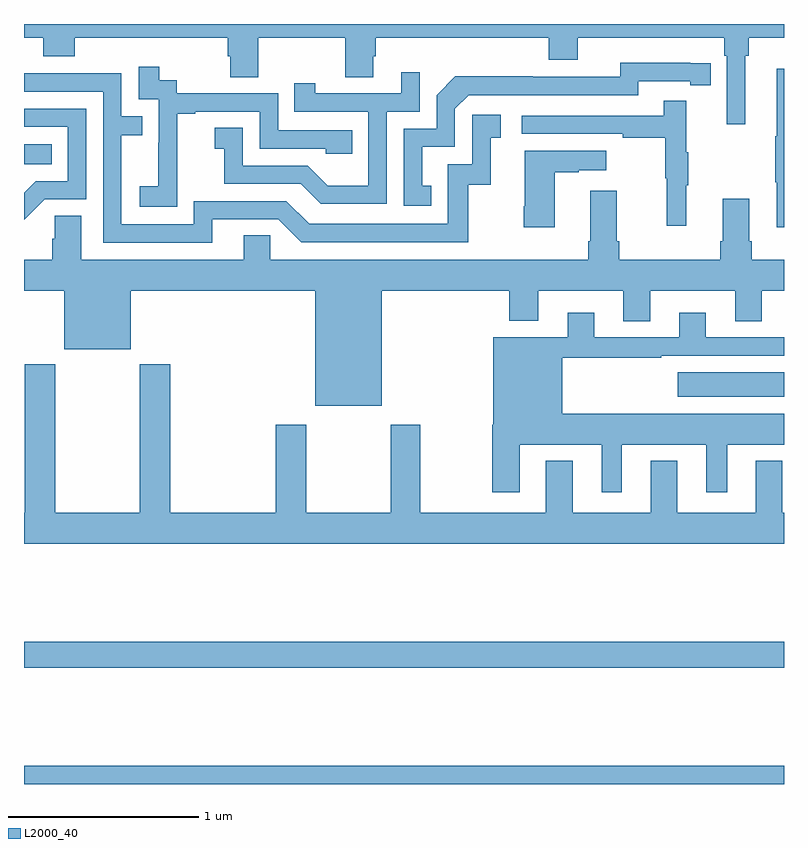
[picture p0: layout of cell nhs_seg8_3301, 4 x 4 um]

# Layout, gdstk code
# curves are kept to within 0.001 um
import gdstk
lib = gdstk.Library(unit=1e-6, precision=1e-09)
def R(c, l, rs):  # rectangles x0, y0, x1, y1
    for r in rs: c.add(gdstk.rectangle(r[:2], r[2:], *l))
def P(c, l, *ps):  # polygons
    for p in ps: c.add(gdstk.Polygon(p, *l))
L2000_40 = (2000, 40)

nhs_seg8_3301 = lib.new_cell('nhs_seg8_3301')
R(nhs_seg8_3301, L2000_40, [(315,1117.9,319,1117.996), (315,1118.512,319,1118.648), (318.441,1119.938,319,1120.066), (315,1121.162,315.146,1121.266)])
P(nhs_seg8_3301, L2000_40, [(318.796,1121.732),(318.815,1121.732),(318.815,1121.828),(319,1121.828),(319,1121.9),(315,1121.9),(315,1121.828),(315.101,1121.828),(315.101,1121.729),(315.266,1121.729),(315.266,1121.828),(316.073,1121.828),(316.073,1121.73),(316.085,1121.73),(316.085,1121.62),(316.233,1121.62),(316.233,1121.828),(316.69,1121.828),(316.69,1121.62),(316.837,1121.62),(316.837,1121.73),(316.85,1121.73),(316.85,1121.828),(317.762,1121.828),(317.762,1121.711),(317.914,1121.711),(317.914,1121.828),(318.686,1121.828),(318.686,1121.732),(318.699,1121.732),(318.699,1121.373),(318.796,1121.373)],
  [(317.144,1121.049),(317.095,1121.049),(317.095,1121.253),(317.268,1121.253),(317.268,1121.454),(317.34,1121.526),(318.234,1121.526),(318.234,1121.598),(318.506,1121.598),(318.506,1121.578),(318.614,1121.578),(318.614,1121.694),(318.138,1121.695),(318.138,1121.622),(317.678,1121.622),(317.678,1121.624),(317.27,1121.624),(317.172,1121.526),(317.172,1121.349),(316.998,1121.349),(316.998,1120.944),(317.144,1120.944)],
  [(315.807,1121.143),(315.806,1121.143),(315.806,1121.427),(315.901,1121.427),(315.901,1121.439),(316.242,1121.439),(316.242,1121.244),(316.587,1121.244),(316.587,1121.217),(316.727,1121.217),(316.727,1121.34),(316.338,1121.34),(316.338,1121.535),(315.804,1121.535),(315.804,1121.604),(315.712,1121.604),(315.712,1121.674),(315.603,1121.674),(315.603,1121.505),(315.708,1121.505),(315.708,1121.276),(315.707,1121.276),(315.707,1121.047),(315.609,1121.047),(315.609,1120.937),(315.807,1120.937)],
  [(319,1121.665),(318.962,1121.665),(318.962,1121.309),(318.955,1121.309),(318.955,1121.068),(318.962,1121.068),(318.962,1120.83),(319,1120.83)],
  [(316.908,1121.439),(317.082,1121.439),(317.082,1121.647),(316.985,1121.647),(316.985,1121.535),(316.534,1121.535),(316.534,1121.587),(316.423,1121.587),(316.423,1121.439),(316.812,1121.439),(316.812,1121.05),(316.598,1121.05),(316.494,1121.154),(316.152,1121.154),(316.152,1121.353),(316.005,1121.353),(316.005,1121.243),(316.054,1121.243),(316.054,1121.058),(316.457,1121.058),(316.562,1120.953),(316.908,1120.953)],
  [(315.991,1120.872),(316.338,1120.872),(316.458,1120.752),(317.338,1120.752),(317.338,1121.055),(317.456,1121.055),(317.456,1121.301),(317.509,1121.301),(317.509,1121.422),(317.358,1121.422),(317.358,1121.163),(317.229,1121.163),(317.229,1120.848),(316.5,1120.848),(316.38,1120.968),(315.894,1120.968),(315.894,1120.845),(315.513,1120.845),(315.513,1121.314),(315.623,1121.314),(315.623,1121.415),(315.513,1121.415),(315.513,1121.64),(315.017,1121.64),(315.017,1121.642),(315,1121.642),(315,1121.544),(315.417,1121.544),(315.417,1120.749),(315.991,1120.749)],
  [(318.485,1121.051),(318.496,1121.051),(318.496,1121.225),(318.485,1121.225),(318.485,1121.497),(318.367,1121.497),(318.367,1121.418),(317.619,1121.418),(317.619,1121.322),(318.151,1121.322),(318.151,1121.302),(318.375,1121.302),(318.375,1121.088),(318.382,1121.088),(318.382,1120.839),(318.485,1120.839)],
  [(315.108,1120.977),(315.327,1120.977),(315.327,1121.454),(315,1121.454),(315,1121.358),(315.231,1121.358),(315.231,1121.073),(315.062,1121.073),(315,1121.011),(315,1120.87)],
  [(317.794,1121.119),(317.921,1121.119),(317.921,1121.129),(318.064,1121.129),(318.064,1121.233),(317.636,1121.233),(317.636,1120.942),(317.629,1120.942),(317.629,1120.83),(317.794,1120.83)],
  [(316.532,1119.89),(316.882,1119.89),(316.882,1120.496),(317.555,1120.496),(317.555,1120.337),(317.707,1120.337),(317.707,1120.496),(318.155,1120.496),(318.155,1120.336),(318.295,1120.336),(318.295,1120.496),(318.743,1120.496),(318.743,1120.336),(318.883,1120.336),(318.883,1120.496),(319,1120.496),(319,1120.66),(318.83,1120.66),(318.83,1120.756),(318.817,1120.756),(318.817,1120.981),(318.677,1120.981),(318.677,1120.756),(318.665,1120.756),(318.665,1120.66),(318.134,1120.66),(318.134,1120.756),(318.121,1120.756),(318.121,1121.023),(317.981,1121.023),(317.981,1120.756),(317.969,1120.756),(317.969,1120.66),(316.296,1120.66),(316.296,1120.787),(316.157,1120.787),(316.157,1120.66),(315.301,1120.66),(315.301,1120.892),(315.162,1120.892),(315.162,1120.769),(315.149,1120.769),(315.149,1120.66),(315,1120.66),(315,1120.496),(315.212,1120.496),(315.212,1120.187),(315.562,1120.187),(315.562,1120.496),(316.532,1120.496)],
  [(317.608,1119.686),(318.041,1119.686),(318.041,1119.435),(318.145,1119.435),(318.145,1119.686),(318.59,1119.686),(318.59,1119.435),(318.7,1119.435),(318.7,1119.686),(319,1119.686),(319,1119.85),(317.833,1119.85),(317.833,1120.143),(318.353,1120.143),(318.353,1120.155),(319,1120.155),(319,1120.251),(318.589,1120.251),(318.589,1120.381),(318.449,1120.381),(318.449,1120.251),(318.001,1120.251),(318.001,1120.381),(317.861,1120.381),(317.861,1120.252),(317.471,1120.252),(317.471,1119.79),(317.464,1119.79),(317.464,1119.435),(317.608,1119.435)],
  [(319,1119.328),(318.991,1119.328),(318.991,1119.601),(318.851,1119.601),(318.851,1119.328),(318.439,1119.328),(318.439,1119.601),(318.299,1119.601),(318.299,1119.328),(317.887,1119.328),(317.887,1119.601),(317.747,1119.601),(317.747,1119.328),(317.085,1119.328),(317.085,1119.79),(316.93,1119.79),(316.93,1119.328),(316.485,1119.328),(316.485,1119.79),(316.325,1119.79),(316.325,1119.328),(315.77,1119.328),(315.77,1120.108),(315.61,1120.108),(315.61,1119.328),(315.165,1119.328),(315.165,1120.108),(315.005,1120.108),(315.005,1119.328),(315,1119.328),(315,1119.164),(319,1119.164)])

lib.write_gds('nhs_seg8_3301.gds')
